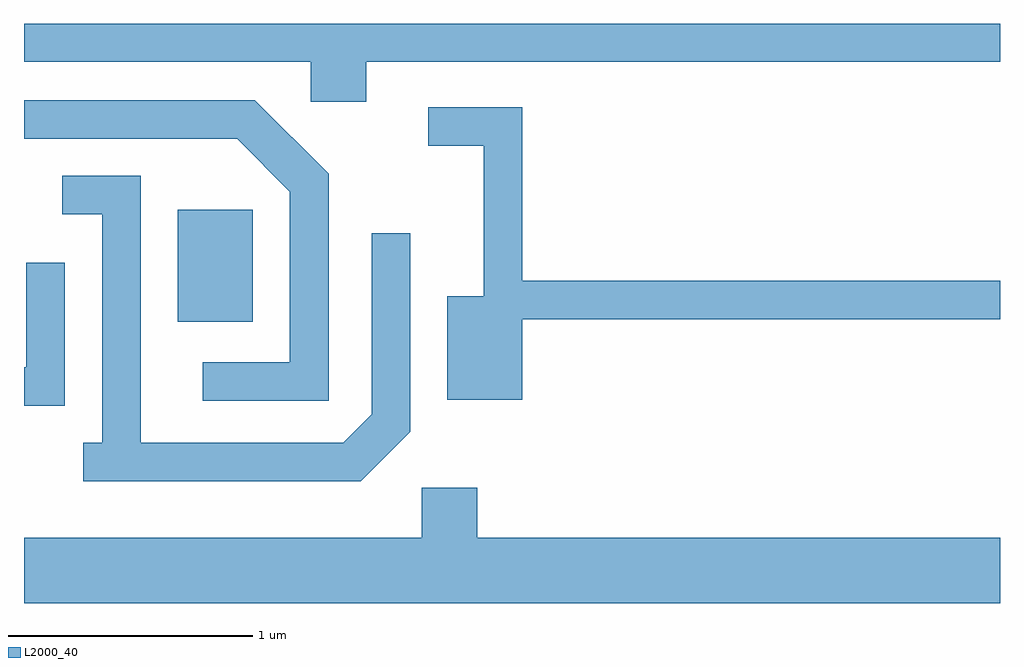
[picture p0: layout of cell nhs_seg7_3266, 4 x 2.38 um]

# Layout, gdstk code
import gdstk
lib = gdstk.Library(unit=1e-6, precision=1e-09)
def R(c, l, rs):  # rectangles x0, y0, x1, y1
    for r in rs: c.add(gdstk.rectangle(r[:2], r[2:], *l))
def P(c, l, *ps):  # polygons
    for p in ps: c.add(gdstk.Polygon(p, *l))
L2000_40 = (2000, 40)

nhs_seg7_3266 = lib.new_cell('nhs_seg7_3266')
R(nhs_seg7_3266, L2000_40, [(286.241,1711.031,286.549,1711.489)])
P(nhs_seg7_3266, L2000_40, [(287.014,1712.096),(289.611,1712.096),(289.611,1712.252),(285.611,1712.252),(285.611,1712.096),(286.786,1712.096),(286.786,1711.931),(287.014,1711.931)],
  [(286.859,1711.637),(286.557,1711.939),(285.611,1711.939),(285.611,1711.781),(286.484,1711.781),(286.701,1711.564),(286.701,1710.864),(286.343,1710.864),(286.343,1710.706),(286.859,1710.706)],
  [(287.654,1711.041),(289.611,1711.041),(289.611,1711.199),(287.654,1711.199),(287.654,1711.909),(287.268,1711.909),(287.268,1711.751),(287.496,1711.751),(287.496,1711.134),(287.346,1711.134),(287.346,1710.711),(287.654,1710.711)],
  [(287.194,1710.579),(287.194,1711.393),(287.036,1711.393),(287.036,1710.652),(286.919,1710.534),(286.089,1710.534),(286.089,1711.629),(285.768,1711.629),(285.768,1711.471),(285.931,1711.471),(285.931,1710.534),(285.853,1710.534),(285.853,1710.376),(286.992,1710.376)],
  [(285.779,1711.273),(285.621,1711.273),(285.621,1710.844),(285.611,1710.844),(285.611,1710.686),(285.779,1710.686)],
  [(289.611,1710.144),(287.469,1710.144),(287.469,1710.349),(287.241,1710.349),(287.241,1710.144),(285.611,1710.144),(285.611,1709.876),(289.611,1709.876)])

lib.write_gds('nhs_seg7_3266.gds')
